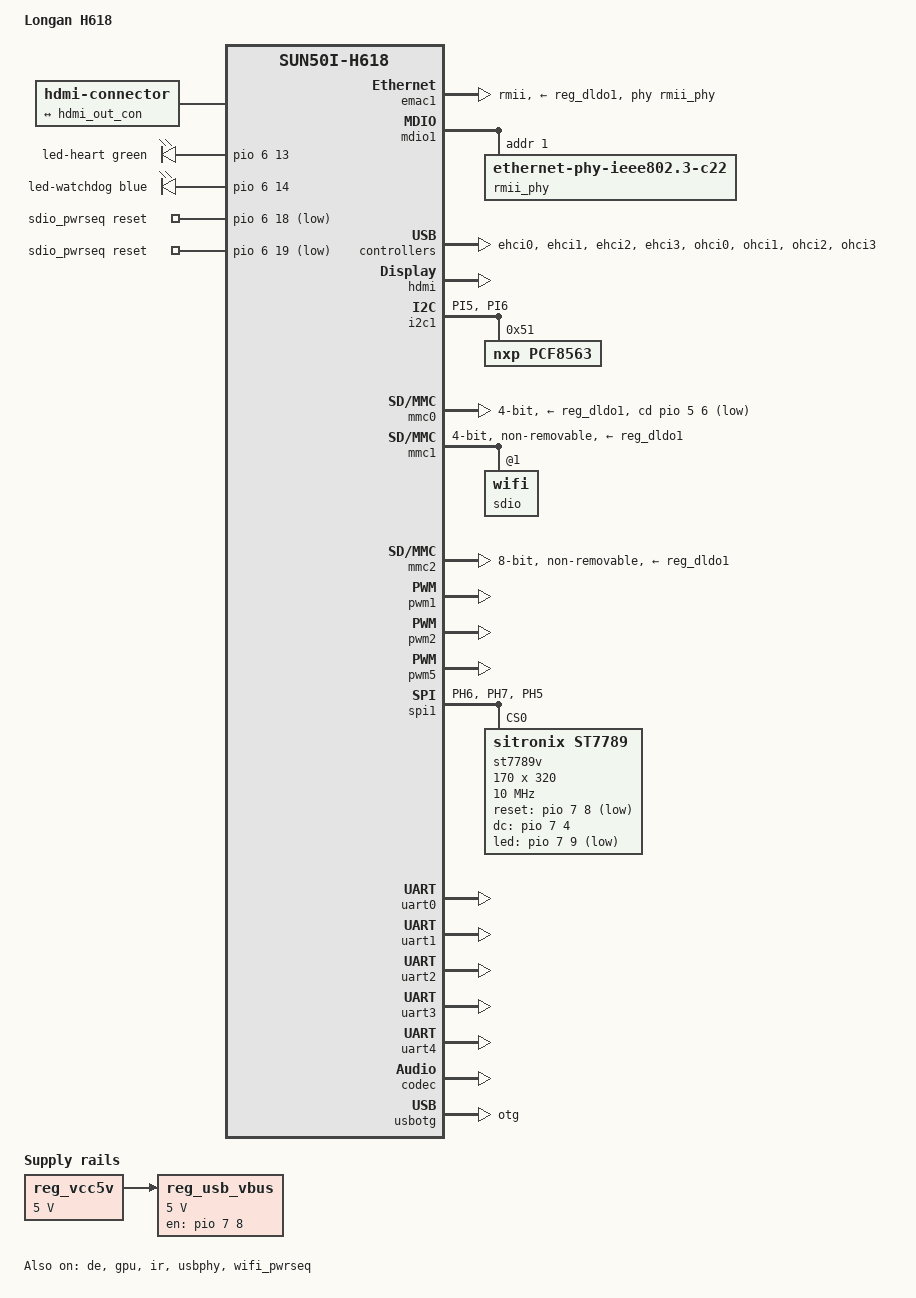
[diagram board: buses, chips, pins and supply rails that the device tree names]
// SPDX-License-Identifier: (GPL-2.0+ OR MIT)
/*
 * Copyright (C) 2020 frank@allwinnertech.com
 * Copyright (c) 2024 Longan <longan@allwinnertech.com>
 *
 * Longan H618 (p1) board device tree for Armbian mainline kernel
 * Based on longan-h618 p1 vendor DTS, translated to mainline bindings
 */

/dts-v1/;

#include "sun50i-h616.dtsi"
#include "sun50i-h616-cpu-opp.dtsi"

#include <dt-bindings/gpio/gpio.h>
#include <dt-bindings/interrupt-controller/arm-gic.h>
#include <dt-bindings/leds/common.h>

/ {
	model = "Longan H618";
	compatible = "longan,h618", "allwinner,sun50i-h618";

	aliases {
		ethernet0 = &emac1;
		serial0 = &uart0;
		serial1 = &uart1;
		serial2 = &uart2;
		serial3 = &uart3;
		serial4 = &uart4;
		i2c1 = &i2c1;
	};

	chosen {
		stdout-path = "serial0:115200n8";
	};

	connector {
		compatible = "hdmi-connector";
		type = "d";

		port {
			hdmi_con_in: endpoint {
				remote-endpoint = <&hdmi_out_con>;
			};
		};
	};

	leds {
		compatible = "gpio-leds";

		led-heart {
			color = <LED_COLOR_ID_GREEN>;
			function = LED_FUNCTION_HEARTBEAT;
			gpios = <&pio 6 13 GPIO_ACTIVE_HIGH>; /* PG13 */
			linux,default-trigger = "heartbeat";
		};

		led-watchdog {
			color = <LED_COLOR_ID_BLUE>;
			function = LED_FUNCTION_INDICATOR;
			gpios = <&pio 6 14 GPIO_ACTIVE_HIGH>; /* PG14 */
			linux,default-trigger = "heartbeat";
		};
	};

	reg_vcc5v: regulator-vcc5v {
		compatible = "regulator-fixed";
		regulator-always-on;
		regulator-min-microvolt = <5000000>;
		regulator-max-microvolt = <5000000>;
		regulator-name = "vcc-5v";
	};

	reg_usb_vbus: regulator-usb-vbus {
		compatible = "regulator-fixed";
		regulator-min-microvolt = <5000000>;
		regulator-max-microvolt = <5000000>;
		regulator-name = "usb-vbus";
		vin-supply = <&reg_vcc5v>;
		gpio = <&pio 7 8 GPIO_ACTIVE_HIGH>; /* PH8 */
		enable-active-high;
		regulator-always-on;
	};

	sdio_pwrseq: sdio-pwrseq {
		compatible = "mmc-pwrseq-simple";
		clocks = <&rtc CLK_OSC32K_FANOUT>;
		clock-names = "ext_clock";
		pinctrl-0 = <&x32clk_fanout_pin>;
		pinctrl-names = "default";
		post-power-on-delay-ms = <100>;
		power-off-delay-us = <5000000>;
		reset-gpios = <&pio 6 18 GPIO_ACTIVE_LOW>, /* PG18 */
			      <&pio 6 19 GPIO_ACTIVE_LOW>; /* PG19 */
	};
};

/* CPU power supply from AXP1530 PMIC */
&cpu0 {
	cpu-supply = <&reg_dcdc2>;
};

/* Display Engine */
&de {
	status = "okay";
};

/* GMAC1 Ethernet (RMII) - PA0-PA9 */
&emac1 {
	pinctrl-names = "default";
	pinctrl-0 = <&rmii_pins>;
	phy-mode = "rmii";
	phy-handle = <&rmii_phy>;
	phy-supply = <&reg_dldo1>;
	allwinner,rx-delay-ps = <3100>;
	allwinner,tx-delay-ps = <700>;
	status = "okay";
};

&mdio1 {
	rmii_phy: ethernet-phy@1 {
		compatible = "ethernet-phy-ieee802.3-c22";
		reg = <1>;
	};
};

/* USB Host Controllers */
&ehci0 {
	status = "okay";
};

&ehci1 {
	status = "okay";
};

&ehci2 {
	status = "okay";
};

&ehci3 {
	status = "okay";
};

/* GPU */
&gpu {
	status = "okay";
	mali-supply = <&reg_dcdc1>;
};

/* HDMI */
&hdmi {
	status = "okay";
};

&hdmi_out {
	hdmi_out_con: endpoint {
		remote-endpoint = <&hdmi_con_in>;
	};
};

/* I2C1 - PCF8563 RTC (PI5, PI6) */
&i2c1 {
	pinctrl-names = "default";
	pinctrl-0 = <&i2c1_pins>;
	status = "okay";

	pcf8563: rtc@51 {
		compatible = "nxp,pcf8563";
		reg = <0x51>;
		#clock-cells = <0>;
		status = "okay";
	};
};

/* IR receiver (PH10) */
&ir {
	pinctrl-names = "default";
	pinctrl-0 = <&ir_rx_pin>;
	status = "okay";
};

/* SD card on MMC0 */
&mmc0 {
	status = "okay";
	bus-width = <4>;
	cd-gpios = <&pio 5 6 GPIO_ACTIVE_HIGH>; /* PF6 */
	cd-inverted;
	disable-wp;
	max-frequency = <50000000>;
	vmmc-supply = <&reg_dldo1>;
};

/* SDIO WiFi on MMC1 */
&mmc1 {
	status = "okay";
	bus-width = <4>;
	keep-power-in-suspend;
	max-frequency = <100000000>;
	mmc-pwrseq = <&sdio_pwrseq>;
	no-mmc;
	no-sd;
	non-removable;
	vmmc-supply = <&reg_dldo1>;
	vqmmc-supply = <&reg_aldo1>;

	sdio: wifi@1 {
		reg = <1>;
	};
};

/* eMMC on MMC2 */
&mmc2 {
	status = "okay";
	bus-width = <8>;
	cap-mmc-hw-reset;
	mmc-hs200-1_8v;
	non-removable;
	vmmc-supply = <&reg_dldo1>;
	vqmmc-supply = <&reg_aldo1>;
};

/* OHCI USB Host Controllers */
&ohci0 {
	status = "okay";
};

&ohci1 {
	status = "okay";
};

&ohci2 {
	status = "okay";
};

&ohci3 {
	status = "okay";
};

/* Pin control */
&pio {
	vcc-pc-supply = <&reg_dldo1>;
	vcc-pf-supply = <&reg_dldo1>;
	vcc-pg-supply = <&reg_aldo1>;
	vcc-ph-supply = <&reg_dldo1>;
	vcc-pi-supply = <&reg_dldo1>;
	vcc-pl-supply = <&reg_aldo1>;

	/* I2C1 pins (PI5, PI6) */
	i2c1_pins: i2c1-pins {
		pins = "PI5", "PI6";
		function = "i2c1";
	};
};

/* PWM1 (PI11) */
&pwm1 {
	pinctrl-names = "default";
	pinctrl-0 = <&pwm1_pin>;
	status = "okay";
};

/* PWM2 (PI12) */
&pwm2 {
	pinctrl-names = "default";
	pinctrl-0 = <&pwm2_pin>;
	status = "okay";
};

/* PWM5 (PA12) */
&pwm5 {
	pinctrl-names = "default";
	pinctrl-0 = <&pwm5_pin>;
	status = "okay";
};

/* SPI1 - ST7789V display */
&spi1 {
	pinctrl-names = "default";
	pinctrl-0 = <&spi1_pins>, <&spi1_cs0_pin>;
	status = "okay";

	st7789v@0 {
		compatible = "sitronix,st7789";
		reg = <0>;
		spi-max-frequency = <10000000>;
		spi-cpol;
		spi-cpha;
		rotate = <90>;
		fps = <30>;
		buswidth = <8>;
		width = <170>;
		height = <320>;
		reset-gpios = <&pio 7 8 GPIO_ACTIVE_LOW>;  /* PH8 */
		dc-gpios = <&pio 7 4 GPIO_ACTIVE_HIGH>;    /* PH4 */
		led-gpios = <&pio 7 9 GPIO_ACTIVE_LOW>;    /* PH9 */
		backlight = <1>;
		status = "okay";
	};
};

/* SPI1 pins (PH5, PH6, PH7) */
&pio {
	spi1_pins: spi1-pins {
		pins = "PH6", "PH7";
		function = "spi1";
	};

	spi1_cs0_pin: spi1-cs0-pin {
		pins = "PH5";
		function = "spi1";
	};
};

/* UART0 - debug console (PH0, PH1) */
&uart0 {
	pinctrl-names = "default";
	pinctrl-0 = <&uart0_ph_pins>;
	status = "okay";
};

/* UART1 - Bluetooth (PG6-PG9) */
&uart1 {
	pinctrl-names = "default";
	pinctrl-0 = <&uart1_pins>;
	status = "okay";
};

/* UART2 (PI5, PI6) */
&uart2 {
	pinctrl-names = "default";
	pinctrl-0 = <&uart2_pins>;
	status = "okay";
};

/* UART3 (PI9, PI10) */
&uart3 {
	pinctrl-names = "default";
	pinctrl-0 = <&uart3_pins>;
	status = "okay";
};

/* UART4 (PI13, PI14) */
&uart4 {
	pinctrl-names = "default";
	pinctrl-0 = <&uart4_pins>;
	status = "okay";
};

/* Audio codec */
&codec {
	status = "okay";
	allwinner,audio-routing = "Line Out", "LINEOUT";
};

/* USB OTG */
&usbotg {
	status = "okay";
	dr_mode = "otg";
};

/* USB PHY */
&usbphy {
	usb0_vbus-supply = <&reg_usb_vbus>;
	usb1_vbus-supply = <&reg_usb_vbus>;
	status = "okay";
};

/* WiFi power sequence */
&wifi_pwrseq {
	status = "okay";
};
